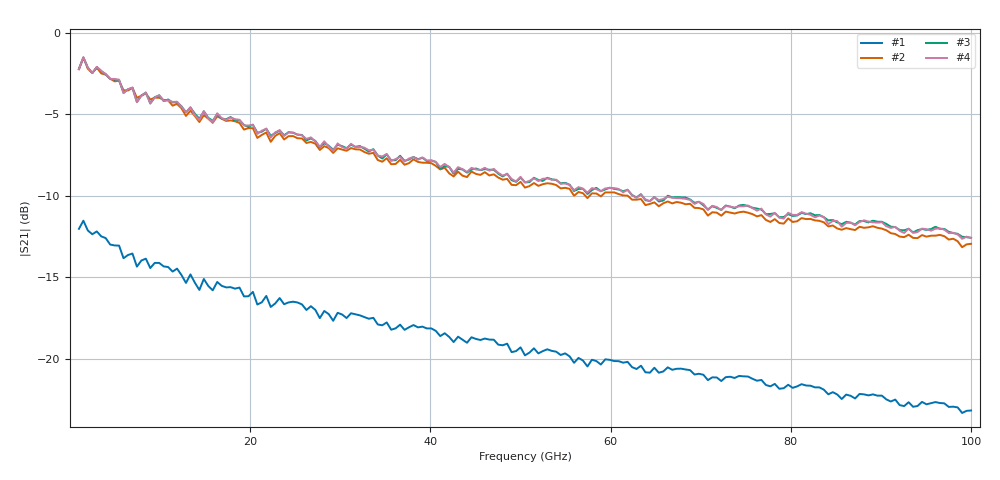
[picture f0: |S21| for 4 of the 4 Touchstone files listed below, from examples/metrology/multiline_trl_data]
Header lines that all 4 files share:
!Created with skrf (http://scikit-rf.org).
# GHz S RI R 50.0
!freq ReS11 ImS11 ReS21 ImS21 ReS12 ImS12 ReS22 ImS22
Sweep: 1 GHz to 100 GHz
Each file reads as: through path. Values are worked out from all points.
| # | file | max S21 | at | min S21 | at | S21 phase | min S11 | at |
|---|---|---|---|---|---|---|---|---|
| 1 | DUT.s2p | -11.53 dB | 1.495 GHz | -23.3 dB | 99.01 GHz | -27 deg at 50.5 GHz | -31.5 dB | 5.95 GHz |
| 2 | line2p3mm.s2p | -1.53 dB | 1.495 GHz | -13.2 dB | 99.01 GHz | 86 deg at 50.5 GHz | -39.8 dB | 32.19 GHz |
| 3 | linep3mm.s2p | -1.52 dB | 1.495 GHz | -12.6 dB | 100 GHz | 45 deg at 50.5 GHz | -54.0 dB | 43.57 GHz |
| 4 | thru.s2p | -1.51 dB | 1.495 GHz | -12.6 dB | 99.01 GHz | 94 deg at 50.5 GHz | -47.2 dB | 13.38 GHz |
